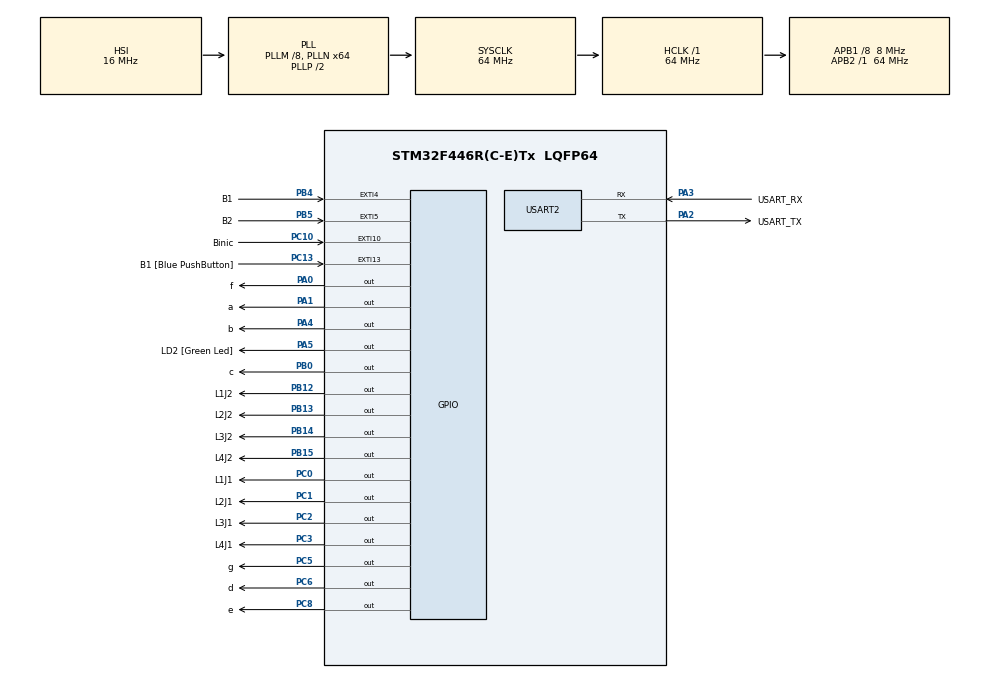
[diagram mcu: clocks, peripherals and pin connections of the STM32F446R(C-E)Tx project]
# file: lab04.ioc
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Mcu.Family=STM32F4
Mcu.Name=STM32F446R(C-E)Tx
Mcu.Package=LQFP64
NVIC.EXTI15_10_IRQn=true\:0\:0\:false\:false\:true\:true\:true\:true
NVIC.EXTI4_IRQn=true\:0\:0\:false\:false\:true\:true\:true\:true
NVIC.EXTI9_5_IRQn=true\:0\:0\:false\:false\:true\:true\:true\:true
NVIC.PriorityGroup=NVIC_PRIORITYGROUP_0
NVIC.TIM6_DAC_IRQn=true\:0\:0\:false\:false\:true\:true\:true\:true
PA0-WKUP.GPIO_Label=f
PA0-WKUP.Signal=GPIO_Output
PA1.GPIO_Label=a
PA1.Signal=GPIO_Output
PA13.GPIO_Label=TMS
PA13.Mode=Serial_Wire
PA13.Signal=SYS_JTMS-SWDIO
PA14.GPIO_Label=TCK
PA14.Mode=Serial_Wire
PA14.Signal=SYS_JTCK-SWCLK
PA2.GPIO_Label=USART_TX
PA2.Mode=Asynchronous
PA2.Signal=USART2_TX
PA3.GPIO_Label=USART_RX
PA3.Mode=Asynchronous
PA3.Signal=USART2_RX
PA4.GPIO_Label=b
PA4.Signal=GPIO_Output
PA5.GPIO_Label=LD2 [Green Led]
PA5.Signal=GPIO_Output
PB0.GPIO_Label=c
PB0.Signal=GPIO_Output
PB12.GPIO_Label=L1J2
PB12.Signal=GPIO_Output
PB13.GPIO_Label=L2J2
PB13.Signal=GPIO_Output
PB14.GPIO_Label=L3J2
PB14.Signal=GPIO_Output
PB15.GPIO_Label=L4J2
PB15.Signal=GPIO_Output
PB3.GPIO_Label=SWO
PB3.Signal=SYS_JTDO-SWO
PB4.GPIO_Label=B1
PB4.GPIO_PuPd=GPIO_PULLUP
PB4.Signal=GPXTI4
PB5.GPIO_Label=B2
PB5.GPIO_ModeDefaultEXTI=GPIO_MODE_IT_RISING
PB5.GPIO_PuPd=GPIO_PULLUP
PB5.Signal=GPXTI5
PC0.GPIO_Label=L1J1
PC0.Signal=GPIO_Output
PC1.GPIO_Label=L2J1
PC1.Signal=GPIO_Output
PC10.GPIO_Label=Binic
PC10.GPIO_PuPd=GPIO_PULLUP
PC10.Signal=GPXTI10
PC13.GPIO_Label=B1 [Blue PushButton]
PC13.GPIO_ModeDefaultEXTI=GPIO_MODE_IT_FALLING
PC13.Signal=GPXTI13
PC14-OSC32_IN.Mode=LSE-External-Oscillator
PC14-OSC32_IN.Signal=RCC_OSC32_IN
PC15-OSC32_OUT.Mode=LSE-External-Oscillator
PC15-OSC32_OUT.Signal=RCC_OSC32_OUT
PC2.GPIO_Label=L3J1
PC2.Signal=GPIO_Output
PC3.GPIO_Label=L4J1
PC3.Signal=GPIO_Output
PC5.GPIO_Label=g
PC5.Signal=GPIO_Output
PC6.GPIO_Label=d
PC6.Signal=GPIO_Output
PC8.GPIO_Label=e
PC8.Signal=GPIO_Output
PH0-OSC_IN.Mode=HSE-External-Oscillator
PH0-OSC_IN.Signal=RCC_OSC_IN
PH1-OSC_OUT.Mode=HSE-External-Oscillator
PH1-OSC_OUT.Signal=RCC_OSC_OUT
ProjectManager.HeapSize=0x200
ProjectManager.StackSize=0x400
ProjectManager.TargetToolchain=STM32CubeIDE
RCC.48MHZClocksFreq_Value=84000000
RCC.AHBFreq_Value=64000000
RCC.APB1CLKDivider=RCC_HCLK_DIV8
RCC.APB1Freq_Value=8000000
RCC.APB1TimFreq_Value=16000000
RCC.APB2Freq_Value=64000000
RCC.APB2TimFreq_Value=64000000
RCC.CortexFreq_Value=64000000
RCC.FLatency-AdvancedSettings=FLASH_LATENCY_2
RCC.HCLKFreq_Value=64000000
RCC.HSE_VALUE=8000000
RCC.HSI_VALUE=16000000
RCC.PLLM=8
RCC.PLLN=64
RCC.SYSCLKFreq_VALUE=64000000
RCC.SYSCLKSource=RCC_SYSCLKSOURCE_PLLCLK
RCC.USBFreq_Value=64000000
RCC.VCOOutputFreq_Value=128000000
TIM6.AutoReloadPreload=TIM_AUTORELOAD_PRELOAD_ENABLE
TIM6.Period=999-1
TIM6.Prescaler=16000-1
TIM6.TIM_MasterOutputTrigger=TIM_TRGO_UPDATE
USART2.VirtualMode=VM_ASYNC
VP_TIM6_VS_ClockSourceINT.Mode=Enable_Timer
board=NUCLEO-F446RE

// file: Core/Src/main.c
/* USER CODE BEGIN Header */
/**
  ******************************************************************************
  * @file           : main.c
  * @brief          : Main program body
  ******************************************************************************
  * @attention
  *
  * Copyright (c) 2026 STMicroelectronics.
  * All rights reserved.
  *
  * This software is licensed under terms that can be found in the LICENSE file
  * in the root directory of this software component.
  * If no LICENSE file comes with this software, it is provided AS-IS.
  *
  ******************************************************************************
  */
/* USER CODE END Header */
#include "main.h"

/* USER CODE BEGIN Includes */
#include "stdint.h"

/* USER CODE END Includes */

TIM_HandleTypeDef htim6;

UART_HandleTypeDef huart2;

/* USER CODE BEGIN PV */
uint8_t contadorj1=0;
uint8_t contadorj2=0;
uint8_t contar=0;
uint8_t modo=0;
uint8_t botones=0;
uint8_t iniciar=1;
/* USER CODE END PV */

void SystemClock_Config(void);
static void MX_GPIO_Init(void);
static void MX_USART2_UART_Init(void);
static void MX_TIM6_Init(void);

int main(void)
{

  /* MCU Configuration--------------------------------------------------------*/

  /* Reset of all peripherals, Initializes the Flash interface and the Systick. */
  HAL_Init();

  /* Configure the system clock */
  SystemClock_Config();

  /* Initialize all configured peripherals */
  MX_GPIO_Init();
  MX_USART2_UART_Init();
  MX_TIM6_Init();
  /* USER CODE BEGIN 2 */
  HAL_TIM_Base_Start_IT(&htim6);
  /* USER CODE END 2 */

  /* Infinite loop */
  /* USER CODE BEGIN WHILE */
  while (1)
  {
	  switch(modo){
	  case 0:
		  break;
	  case 1:
		  botones=0;
		  HAL_GPIO_WritePin(GPIOB, L4J2_Pin|L3J2_Pin|L2J2_Pin|L1J2_Pin, RESET);
		  HAL_GPIO_WritePin(GPIOC, L4J1_Pin|L3J1_Pin|L2J1_Pin|L1J1_Pin, RESET);
		  // 5
		  HAL_GPIO_WritePin(GPIOA, a_Pin, SET);
		  HAL_GPIO_WritePin(GPIOA, f_Pin, SET);
		  HAL_GPIO_WritePin(GPIOC, g_Pin, SET);
		  HAL_GPIO_WritePin(GPIOC, d_Pin, SET);
		  HAL_GPIO_WritePin(c_GPIO_Port, c_Pin, SET);
		  HAL_GPIO_WritePin(e_GPIO_Port, e_Pin, RESET);
		  HAL_GPIO_WritePin(b_GPIO_Port, b_Pin, RESET);
		  HAL_Delay(1000);
		  // Numero 4
		  HAL_GPIO_WritePin(GPIOA, a_Pin, RESET);
		  HAL_GPIO_WritePin(GPIOA, f_Pin, SET);
		  HAL_GPIO_WritePin(GPIOC, g_Pin, SET);
		  HAL_GPIO_WritePin(GPIOC, d_Pin, RESET);
		  HAL_GPIO_WritePin(c_GPIO_Port, c_Pin, SET);
		  HAL_GPIO_WritePin(e_GPIO_Port, e_Pin, RESET);
		  HAL_GPIO_WritePin(b_GPIO_Port, b_Pin, SET);
		  HAL_Delay(1000);
		  // numero 3
		  HAL_GPIO_WritePin(GPIOA, a_Pin, SET);
		  HAL_GPIO_WritePin(GPIOA, f_Pin, RESET);
		  HAL_GPIO_WritePin(GPIOC, g_Pin, SET);
		  HAL_GPIO_WritePin(GPIOC, d_Pin, SET);
		  HAL_GPIO_WritePin(c_GPIO_Port, c_Pin, SET);
		  HAL_GPIO_WritePin(e_GPIO_Port, e_Pin, RESET);
		  HAL_GPIO_WritePin(b_GPIO_Port, b_Pin, SET);
		  HAL_Delay(1000);
		  //NUmero 2
		  HAL_GPIO_WritePin(GPIOA, a_Pin, SET);
		  HAL_GPIO_WritePin(GPIOA, f_Pin, RESET);
		  HAL_GPIO_WritePin(GPIOC, g_Pin, SET);
		  HAL_GPIO_WritePin(GPIOC, d_Pin, SET);
		  HAL_GPIO_WritePin(c_GPIO_Port, c_Pin, RESET);
		  HAL_GPIO_WritePin(e_GPIO_Port, e_Pin, SET);
		  HAL_GPIO_WritePin(b_GPIO_Port, b_Pin, SET);
		  HAL_Delay(1000);
		  //numERO 1
		  HAL_GPIO_WritePin(GPIOA, a_Pin, RESET);
		  HAL_GPIO_WritePin(GPIOA, f_Pin, RESET);
		  HAL_GPIO_WritePin(GPIOC, g_Pin, RESET);
		  HAL_GPIO_WritePin(GPIOC, d_Pin, RESET);
		  HAL_GPIO_WritePin(c_GPIO_Port, c_Pin, SET);
		  HAL_GPIO_WritePin(e_GPIO_Port, e_Pin, RESET);
		  HAL_GPIO_WritePin(b_GPIO_Port, b_Pin, SET);
		  HAL_Delay(1000);
		  //APAGAR Y CAMBIAR A JUAGAR
		  HAL_GPIO_WritePin(GPIOA, a_Pin, RESET);
		  HAL_GPIO_WritePin(GPIOA, f_Pin, RESET);
		  HAL_GPIO_WritePin(GPIOC, g_Pin, RESET);
		  HAL_GPIO_WritePin(GPIOC, d_Pin, RESET);
		  HAL_GPIO_WritePin(c_GPIO_Port, c_Pin, RESET);
		  HAL_GPIO_WritePin(e_GPIO_Port, e_Pin, RESET);
		  HAL_GPIO_WritePin(b_GPIO_Port, b_Pin, RESET);
		  botones=1;
		  modo =2;
		  iniciar=0;
		  break;
	  case 2:
		  if (contadorj1>=4){
			  HAL_GPIO_WritePin(GPIOA, a_Pin, RESET);
			  HAL_GPIO_WritePin(GPIOA, f_Pin, RESET);
			  HAL_GPIO_WritePin(GPIOC, g_Pin, RESET);
			  HAL_GPIO_WritePin(GPIOC, d_Pin, RESET);
			  HAL_GPIO_WritePin(c_GPIO_Port, c_Pin, SET);
			  HAL_GPIO_WritePin(e_GPIO_Port, e_Pin, RESET);
			  HAL_GPIO_WritePin(b_GPIO_Port, b_Pin, SET);
			  HAL_GPIO_WritePin(GPIOC, L4J1_Pin|L3J1_Pin|L2J1_Pin|L1J1_Pin, SET);
			  HAL_GPIO_WritePin(GPIOB, L4J2_Pin|L3J2_Pin|L2J2_Pin|L1J2_Pin, RESET);
			  iniciar=1;
		  } else if (contadorj2>=4){
			  HAL_GPIO_WritePin(GPIOB, L4J2_Pin|L3J2_Pin|L2J2_Pin|L1J2_Pin, SET);
			  HAL_GPIO_WritePin(GPIOC, L4J1_Pin|L3J1_Pin|L2J1_Pin|L1J1_Pin, RESET);
			  HAL_GPIO_WritePin(GPIOA, a_Pin, SET);
			  HAL_GPIO_WritePin(GPIOA, f_Pin, RESET);
			  HAL_GPIO_WritePin(GPIOC, g_Pin, SET);
			  HAL_GPIO_WritePin(GPIOC, d_Pin, SET);
			  HAL_GPIO_WritePin(c_GPIO_Port, c_Pin, RESET);
			  HAL_GPIO_WritePin(e_GPIO_Port, e_Pin, SET);
			  HAL_GPIO_WritePin(b_GPIO_Port, b_Pin, SET);
			  iniciar=1;
		  }
		  else{
			  switch(contadorj1){
			  	  case 1:
			  		  HAL_GPIO_WritePin(GPIOC, L1J1_Pin, SET);
			  		  HAL_GPIO_WritePin(GPIOC, L2J1_Pin|L3J1_Pin|L4J1_Pin, RESET);
			  		  break;
			  	  case 2:
			  		  HAL_GPIO_WritePin(GPIOC, L2J1_Pin, SET);
			  		  HAL_GPIO_WritePin(GPIOC, L1J1_Pin|L3J1_Pin|L4J1_Pin, RESET);
			  		  break;
			  	  case 3:
			  		  HAL_GPIO_WritePin(GPIOC, L3J1_Pin, SET);
			  		  HAL_GPIO_WritePin(GPIOC, L1J1_Pin|L2J1_Pin|L4J1_Pin, RESET);
			  		  break;
			  	  case 4:
			  		  HAL_GPIO_WritePin(GPIOC, L4J1_Pin, SET);
			  		  HAL_GPIO_WritePin(GPIOC, L2J1_Pin|L3J1_Pin|L1J1_Pin, RESET);
			  		  break;
			  	  }

			  	  switch(contadorj2){
			  	  case 1:
			  		  HAL_GPIO_WritePin(GPIOB, L1J2_Pin, SET);
			  		  HAL_GPIO_WritePin(GPIOB, L2J2_Pin|L3J2_Pin|L4J2_Pin, RESET);
			  		  break;
			  	  case 2:
			  		  HAL_GPIO_WritePin(GPIOB, L2J2_Pin, SET);
			  		  HAL_GPIO_WritePin(GPIOB, L1J2_Pin|L3J2_Pin|L4J2_Pin, RESET);
			  		  break;
			  	  case 3:
			  		  HAL_GPIO_WritePin(GPIOB, L3J2_Pin, SET);
			  		  HAL_GPIO_WritePin(GPIOB, L1J2_Pin|L2J2_Pin|L4J2_Pin, RESET);
			  		  break;
			  	  case 4:
			  		  HAL_GPIO_WritePin(GPIOB, L4J2_Pin, SET);
			  		  HAL_GPIO_WritePin(GPIOB, L2J2_Pin|L3J2_Pin|L1J2_Pin, RESET);
			  		  break;
			  	  }
		  }

		  break;

	  }
    /* USER CODE END WHILE */

  }
}

void SystemClock_Config(void)
{
  RCC_OscInitTypeDef RCC_OscInitStruct = {0};
  RCC_ClkInitTypeDef RCC_ClkInitStruct = {0};

  /** Configure the main internal regulator output voltage
  */
  __HAL_RCC_PWR_CLK_ENABLE();
  __HAL_PWR_VOLTAGESCALING_CONFIG(PWR_REGULATOR_VOLTAGE_SCALE3);

  /** Initializes the RCC Oscillators according to the specified parameters
  * in the RCC_OscInitTypeDef structure.
  */
  RCC_OscInitStruct.OscillatorType = RCC_OSCILLATORTYPE_HSI;
  RCC_OscInitStruct.HSIState = RCC_HSI_ON;
  RCC_OscInitStruct.HSICalibrationValue = RCC_HSICALIBRATION_DEFAULT;
  RCC_OscInitStruct.PLL.PLLState = RCC_PLL_ON;
  RCC_OscInitStruct.PLL.PLLSource = RCC_PLLSOURCE_HSI;
  RCC_OscInitStruct.PLL.PLLM = 8;
  RCC_OscInitStruct.PLL.PLLN = 64;
  RCC_OscInitStruct.PLL.PLLP = RCC_PLLP_DIV2;
  RCC_OscInitStruct.PLL.PLLQ = 2;
  RCC_OscInitStruct.PLL.PLLR = 2;
  if (HAL_RCC_OscConfig(&RCC_OscInitStruct) != HAL_OK)
  {
    Error_Handler();
  }

  /** Initializes the CPU, AHB and APB buses clocks
  */
  RCC_ClkInitStruct.ClockType = RCC_CLOCKTYPE_HCLK|RCC_CLOCKTYPE_SYSCLK
                              |RCC_CLOCKTYPE_PCLK1|RCC_CLOCKTYPE_PCLK2;
  RCC_ClkInitStruct.SYSCLKSource = RCC_SYSCLKSOURCE_PLLCLK;
  RCC_ClkInitStruct.AHBCLKDivider = RCC_SYSCLK_DIV1;
  RCC_ClkInitStruct.APB1CLKDivider = RCC_HCLK_DIV8;
  RCC_ClkInitStruct.APB2CLKDivider = RCC_HCLK_DIV1;

  if (HAL_RCC_ClockConfig(&RCC_ClkInitStruct, FLASH_LATENCY_2) != HAL_OK)
  {
    Error_Handler();
  }
}

static void MX_TIM6_Init(void)
{

  TIM_MasterConfigTypeDef sMasterConfig = {0};

  htim6.Instance = TIM6;
  htim6.Init.Prescaler = 16000-1;
  htim6.Init.CounterMode = TIM_COUNTERMODE_UP;
  htim6.Init.Period = 999-1;
  htim6.Init.AutoReloadPreload = TIM_AUTORELOAD_PRELOAD_ENABLE;
  if (HAL_TIM_Base_Init(&htim6) != HAL_OK)
  {
    Error_Handler();
  }
  sMasterConfig.MasterOutputTrigger = TIM_TRGO_UPDATE;
  sMasterConfig.MasterSlaveMode = TIM_MASTERSLAVEMODE_DISABLE;
  if (HAL_TIMEx_MasterConfigSynchronization(&htim6, &sMasterConfig) != HAL_OK)
  {
    Error_Handler();
  }

}

static void MX_USART2_UART_Init(void)
{

  huart2.Instance = USART2;
  huart2.Init.BaudRate = 115200;
  huart2.Init.WordLength = UART_WORDLENGTH_8B;
  huart2.Init.StopBits = UART_STOPBITS_1;
  huart2.Init.Parity = UART_PARITY_NONE;
  huart2.Init.Mode = UART_MODE_TX_RX;
  huart2.Init.HwFlowCtl = UART_HWCONTROL_NONE;
  huart2.Init.OverSampling = UART_OVERSAMPLING_16;
  if (HAL_UART_Init(&huart2) != HAL_OK)
  {
    Error_Handler();
  }

}

static void MX_GPIO_Init(void)
{
  GPIO_InitTypeDef GPIO_InitStruct = {0};

  /* GPIO Ports Clock Enable */
  __HAL_RCC_GPIOC_CLK_ENABLE();
  __HAL_RCC_GPIOH_CLK_ENABLE();
  __HAL_RCC_GPIOA_CLK_ENABLE();
  __HAL_RCC_GPIOB_CLK_ENABLE();

  /*Configure GPIO pin Output Level */
  HAL_GPIO_WritePin(GPIOC, L1J1_Pin|L2J1_Pin|L3J1_Pin|L4J1_Pin
                          |g_Pin|d_Pin|e_Pin, GPIO_PIN_RESET);

  /*Configure GPIO pin Output Level */
  HAL_GPIO_WritePin(GPIOA, f_Pin|a_Pin|b_Pin|LD2_Pin, GPIO_PIN_RESET);

  /*Configure GPIO pin Output Level */
  HAL_GPIO_WritePin(GPIOB, c_Pin|L1J2_Pin|L2J2_Pin|L3J2_Pin
                          |L4J2_Pin, GPIO_PIN_RESET);

  /*Configure GPIO pin : B1_Pin */
  GPIO_InitStruct.Pin = B1_Pin;
  GPIO_InitStruct.Mode = GPIO_MODE_IT_FALLING;
  GPIO_InitStruct.Pull = GPIO_NOPULL;
  HAL_GPIO_Init(B1_GPIO_Port, &GPIO_InitStruct);

  /*Configure GPIO pins : L1J1_Pin L2J1_Pin L3J1_Pin L4J1_Pin
                           g_Pin d_Pin e_Pin */
  GPIO_InitStruct.Pin = L1J1_Pin|L2J1_Pin|L3J1_Pin|L4J1_Pin
                          |g_Pin|d_Pin|e_Pin;
  GPIO_InitStruct.Mode = GPIO_MODE_OUTPUT_PP;
  GPIO_InitStruct.Pull = GPIO_NOPULL;
  GPIO_InitStruct.Speed = GPIO_SPEED_FREQ_LOW;
  HAL_GPIO_Init(GPIOC, &GPIO_InitStruct);

  /*Configure GPIO pins : f_Pin a_Pin b_Pin LD2_Pin */
  GPIO_InitStruct.Pin = f_Pin|a_Pin|b_Pin|LD2_Pin;
  GPIO_InitStruct.Mode = GPIO_MODE_OUTPUT_PP;
  GPIO_InitStruct.Pull = GPIO_NOPULL;
  GPIO_InitStruct.Speed = GPIO_SPEED_FREQ_LOW;
  HAL_GPIO_Init(GPIOA, &GPIO_InitStruct);

  /*Configure GPIO pins : c_Pin L1J2_Pin L2J2_Pin L3J2_Pin
                           L4J2_Pin */
  GPIO_InitStruct.Pin = c_Pin|L1J2_Pin|L2J2_Pin|L3J2_Pin
                          |L4J2_Pin;
  GPIO_InitStruct.Mode = GPIO_MODE_OUTPUT_PP;
  GPIO_InitStruct.Pull = GPIO_NOPULL;
  GPIO_InitStruct.Speed = GPIO_SPEED_FREQ_LOW;
  HAL_GPIO_Init(GPIOB, &GPIO_InitStruct);

  /*Configure GPIO pin : Binic_Pin */
  GPIO_InitStruct.Pin = Binic_Pin;
  GPIO_InitStruct.Mode = GPIO_MODE_IT_RISING;
  GPIO_InitStruct.Pull = GPIO_PULLUP;
  HAL_GPIO_Init(Binic_GPIO_Port, &GPIO_InitStruct);

  /*Configure GPIO pins : B1B4_Pin B2_Pin */
  GPIO_InitStruct.Pin = B1B4_Pin|B2_Pin;
  GPIO_InitStruct.Mode = GPIO_MODE_IT_RISING;
  GPIO_InitStruct.Pull = GPIO_PULLUP;
  HAL_GPIO_Init(GPIOB, &GPIO_InitStruct);

  /* EXTI interrupt init*/
  HAL_NVIC_SetPriority(EXTI4_IRQn, 0, 0);
  HAL_NVIC_EnableIRQ(EXTI4_IRQn);

  HAL_NVIC_SetPriority(EXTI9_5_IRQn, 0, 0);
  HAL_NVIC_EnableIRQ(EXTI9_5_IRQn);

  HAL_NVIC_SetPriority(EXTI15_10_IRQn, 0, 0);
  HAL_NVIC_EnableIRQ(EXTI15_10_IRQn);

}

/* USER CODE BEGIN 4 */
void HAL_GPIO_EXTI_Callback(uint16_t GPIO_Pin){
	if(GPIO_Pin == Binic_Pin){
		if(iniciar==1){
			modo=1;
			contadorj1=0;
			contadorj2=0;
		}
	}
	if(botones==1){
		if (GPIO_Pin == B1B4_Pin){
			contadorj1++;
		}
		if(GPIO_Pin == B2_Pin){
			contadorj2++;
		}
	}
}

//void HAL_TIM_PeriodElapsedCallback(TIM_HandleTypeDef *htim){
//	if( htim == &htim6){
//		HAL_GPIO_TogglePin(GPIOB, L4J2_Pin);
//	}
//} ***************************************************************************************************************************************
/* USER CODE END 4 */

void Error_Handler(void)
{
  __disable_irq();
  while (1)
  {
  }
}
